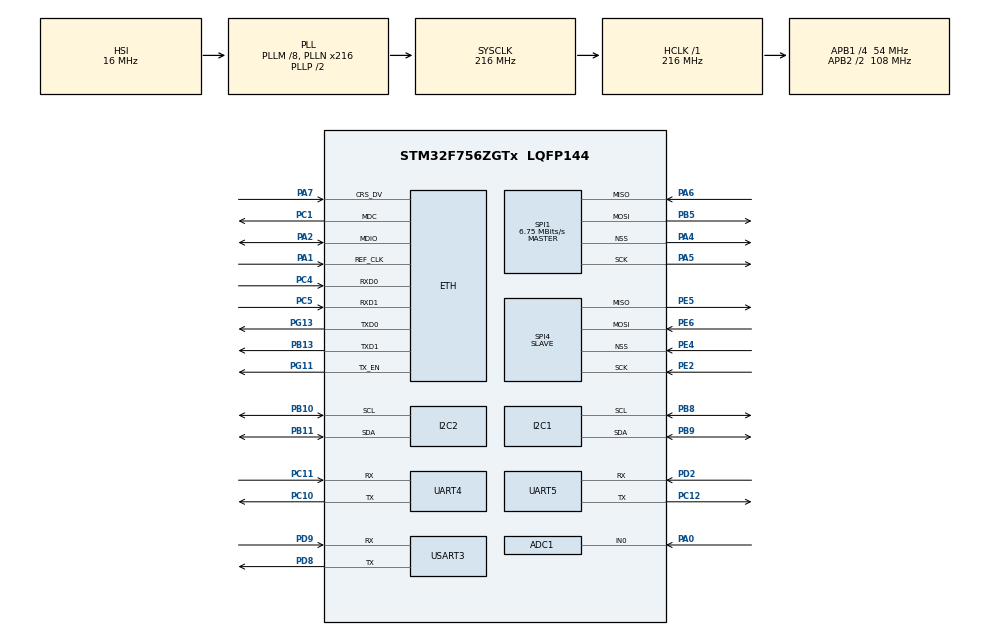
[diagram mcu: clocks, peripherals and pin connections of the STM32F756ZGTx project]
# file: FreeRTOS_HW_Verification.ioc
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ADC1.Channel-0\#ChannelRegularConversion=ADC_CHANNEL_0
ADC1.NbrOfConversionFlag=1
ADC1.Rank-0\#ChannelRegularConversion=1
ADC1.SamplingTime-0\#ChannelRegularConversion=ADC_SAMPLETIME_3CYCLES
ADC1.master=1
CORTEX_M7.CPU_DCache=Disabled
CORTEX_M7.CPU_ICache=Disabled
CORTEX_M7.MPU_Control=__NULL
Dma.ADC1.10.Direction=DMA_PERIPH_TO_MEMORY
Dma.ADC1.10.FIFOMode=DMA_FIFOMODE_DISABLE
Dma.ADC1.10.Instance=DMA2_Stream4
Dma.ADC1.10.MemDataAlignment=DMA_MDATAALIGN_HALFWORD
Dma.ADC1.10.MemInc=DMA_MINC_ENABLE
Dma.ADC1.10.Mode=DMA_NORMAL
Dma.ADC1.10.PeriphDataAlignment=DMA_PDATAALIGN_HALFWORD
Dma.ADC1.10.PeriphInc=DMA_PINC_DISABLE
Dma.ADC1.10.Priority=DMA_PRIORITY_LOW
Dma.I2C1_RX.8.Direction=DMA_PERIPH_TO_MEMORY
Dma.I2C1_RX.8.FIFOMode=DMA_FIFOMODE_DISABLE
Dma.I2C1_RX.8.Instance=DMA1_Stream5
Dma.I2C1_RX.8.MemDataAlignment=DMA_MDATAALIGN_BYTE
Dma.I2C1_RX.8.MemInc=DMA_MINC_ENABLE
Dma.I2C1_RX.8.Mode=DMA_NORMAL
Dma.I2C1_RX.8.PeriphDataAlignment=DMA_PDATAALIGN_BYTE
Dma.I2C1_RX.8.PeriphInc=DMA_PINC_DISABLE
Dma.I2C1_RX.8.Priority=DMA_PRIORITY_LOW
Dma.I2C1_TX.9.Direction=DMA_MEMORY_TO_PERIPH
Dma.I2C1_TX.9.FIFOMode=DMA_FIFOMODE_DISABLE
Dma.I2C1_TX.9.Instance=DMA1_Stream6
Dma.I2C1_TX.9.MemDataAlignment=DMA_MDATAALIGN_BYTE
Dma.I2C1_TX.9.MemInc=DMA_MINC_ENABLE
Dma.I2C1_TX.9.Mode=DMA_NORMAL
Dma.I2C1_TX.9.PeriphDataAlignment=DMA_PDATAALIGN_BYTE
Dma.I2C1_TX.9.PeriphInc=DMA_PINC_DISABLE
Dma.I2C1_TX.9.Priority=DMA_PRIORITY_LOW
Dma.I2C2_RX.2.Direction=DMA_PERIPH_TO_MEMORY
Dma.I2C2_RX.2.FIFOMode=DMA_FIFOMODE_DISABLE
Dma.I2C2_RX.2.Instance=DMA1_Stream3
Dma.I2C2_RX.2.MemDataAlignment=DMA_MDATAALIGN_BYTE
Dma.I2C2_RX.2.MemInc=DMA_MINC_ENABLE
Dma.I2C2_RX.2.Mode=DMA_NORMAL
Dma.I2C2_RX.2.PeriphDataAlignment=DMA_PDATAALIGN_BYTE
Dma.I2C2_RX.2.PeriphInc=DMA_PINC_DISABLE
Dma.I2C2_RX.2.Priority=DMA_PRIORITY_LOW
Dma.I2C2_TX.3.Direction=DMA_MEMORY_TO_PERIPH
Dma.I2C2_TX.3.FIFOMode=DMA_FIFOMODE_DISABLE
Dma.I2C2_TX.3.Instance=DMA1_Stream7
Dma.I2C2_TX.3.MemDataAlignment=DMA_MDATAALIGN_BYTE
Dma.I2C2_TX.3.MemInc=DMA_MINC_ENABLE
Dma.I2C2_TX.3.Mode=DMA_NORMAL
Dma.I2C2_TX.3.PeriphDataAlignment=DMA_PDATAALIGN_BYTE
Dma.I2C2_TX.3.PeriphInc=DMA_PINC_DISABLE
Dma.I2C2_TX.3.Priority=DMA_PRIORITY_LOW
Dma.Request0=UART5_RX
Dma.Request1=UART4_RX
Dma.Request10=ADC1
Dma.Request11=TIM6_UP
Dma.Request2=I2C2_RX
Dma.Request3=I2C2_TX
Dma.Request4=SPI1_RX
Dma.Request5=SPI1_TX
Dma.Request6=SPI4_RX
Dma.Request7=SPI4_TX
Dma.Request8=I2C1_RX
Dma.Request9=I2C1_TX
Dma.SPI1_RX.4.Direction=DMA_PERIPH_TO_MEMORY
Dma.SPI1_RX.4.FIFOMode=DMA_FIFOMODE_DISABLE
Dma.SPI1_RX.4.Instance=DMA2_Stream2
Dma.SPI1_RX.4.MemDataAlignment=DMA_MDATAALIGN_BYTE
Dma.SPI1_RX.4.MemInc=DMA_MINC_ENABLE
Dma.SPI1_RX.4.Mode=DMA_NORMAL
Dma.SPI1_RX.4.PeriphDataAlignment=DMA_PDATAALIGN_BYTE
Dma.SPI1_RX.4.PeriphInc=DMA_PINC_DISABLE
Dma.SPI1_RX.4.Priority=DMA_PRIORITY_LOW
Dma.SPI1_TX.5.Direction=DMA_MEMORY_TO_PERIPH
Dma.SPI1_TX.5.FIFOMode=DMA_FIFOMODE_DISABLE
Dma.SPI1_TX.5.Instance=DMA2_Stream3
Dma.SPI1_TX.5.MemDataAlignment=DMA_MDATAALIGN_BYTE
Dma.SPI1_TX.5.MemInc=DMA_MINC_ENABLE
Dma.SPI1_TX.5.Mode=DMA_NORMAL
Dma.SPI1_TX.5.PeriphDataAlignment=DMA_PDATAALIGN_BYTE
Dma.SPI1_TX.5.PeriphInc=DMA_PINC_DISABLE
Dma.SPI1_TX.5.Priority=DMA_PRIORITY_LOW
Dma.SPI4_RX.6.Direction=DMA_PERIPH_TO_MEMORY
Dma.SPI4_RX.6.FIFOMode=DMA_FIFOMODE_DISABLE
Dma.SPI4_RX.6.Instance=DMA2_Stream0
Dma.SPI4_RX.6.MemDataAlignment=DMA_MDATAALIGN_BYTE
Dma.SPI4_RX.6.MemInc=DMA_MINC_ENABLE
Dma.SPI4_RX.6.Mode=DMA_NORMAL
Dma.SPI4_RX.6.PeriphDataAlignment=DMA_PDATAALIGN_BYTE
Dma.SPI4_RX.6.PeriphInc=DMA_PINC_DISABLE
Dma.SPI4_RX.6.Priority=DMA_PRIORITY_LOW
Dma.SPI4_TX.7.Direction=DMA_MEMORY_TO_PERIPH
Dma.SPI4_TX.7.FIFOMode=DMA_FIFOMODE_DISABLE
Dma.SPI4_TX.7.Instance=DMA2_Stream1
Dma.SPI4_TX.7.MemDataAlignment=DMA_MDATAALIGN_BYTE
Dma.SPI4_TX.7.MemInc=DMA_MINC_ENABLE
Dma.SPI4_TX.7.Mode=DMA_NORMAL
Dma.SPI4_TX.7.PeriphDataAlignment=DMA_PDATAALIGN_BYTE
Dma.SPI4_TX.7.PeriphInc=DMA_PINC_DISABLE
Dma.SPI4_TX.7.Priority=DMA_PRIORITY_LOW
Dma.TIM6_UP.11.Direction=DMA_PERIPH_TO_MEMORY
Dma.TIM6_UP.11.FIFOMode=DMA_FIFOMODE_DISABLE
Dma.TIM6_UP.11.Instance=DMA1_Stream1
Dma.TIM6_UP.11.MemDataAlignment=DMA_MDATAALIGN_WORD
Dma.TIM6_UP.11.MemInc=DMA_MINC_ENABLE
Dma.TIM6_UP.11.Mode=DMA_NORMAL
Dma.TIM6_UP.11.PeriphDataAlignment=DMA_PDATAALIGN_WORD
Dma.TIM6_UP.11.PeriphInc=DMA_PINC_DISABLE
Dma.TIM6_UP.11.Priority=DMA_PRIORITY_HIGH
Dma.UART4_RX.1.Direction=DMA_PERIPH_TO_MEMORY
Dma.UART4_RX.1.FIFOMode=DMA_FIFOMODE_DISABLE
Dma.UART4_RX.1.Instance=DMA1_Stream2
Dma.UART4_RX.1.MemDataAlignment=DMA_MDATAALIGN_BYTE
Dma.UART4_RX.1.MemInc=DMA_MINC_ENABLE
Dma.UART4_RX.1.Mode=DMA_NORMAL
Dma.UART4_RX.1.PeriphDataAlignment=DMA_PDATAALIGN_BYTE
Dma.UART4_RX.1.PeriphInc=DMA_PINC_DISABLE
Dma.UART4_RX.1.Priority=DMA_PRIORITY_LOW
Dma.UART5_RX.0.Direction=DMA_PERIPH_TO_MEMORY
Dma.UART5_RX.0.FIFOMode=DMA_FIFOMODE_DISABLE
Dma.UART5_RX.0.Instance=DMA1_Stream0
Dma.UART5_RX.0.MemDataAlignment=DMA_MDATAALIGN_BYTE
Dma.UART5_RX.0.MemInc=DMA_MINC_ENABLE
Dma.UART5_RX.0.Mode=DMA_NORMAL
Dma.UART5_RX.0.PeriphDataAlignment=DMA_PDATAALIGN_BYTE
Dma.UART5_RX.0.PeriphInc=DMA_PINC_DISABLE
Dma.UART5_RX.0.Priority=DMA_PRIORITY_LOW
ETH.MediaInterface=HAL_ETH_RMII_MODE
FREERTOS.INCLUDE_vTaskDelete=1
FREERTOS.Queues01=inMsgQueue,16,InMsg_t,0,Dynamic,NULL,NULL;outMsgQueue,16,OutMsg_t,0,Dynamic,NULL,NULL;uartQueue,8,TestData_t,0,Dynamic,NULL,NULL;i2cQueue,8,TestData_t,0,Dynamic,NULL,NULL;spiQueue,8,TestData_t,0,Dynamic,NULL,NULL;adcQueue,8,TestData_t,0,Dynamic,NULL,NULL;timQueue,8,TestData_t,0,Dynamic,NULL,NULL
FREERTOS.Tasks01=defaultTask,35,512,StartDefaultTask,Default,NULL,Dynamic,NULL,NULL;UDPListenerTask,34,1024,StartTaskUdpListener,Default,NULL,Dynamic,NULL,NULL;DispatcherTask,32,512,StartTaskDispatcher,Default,NULL,Dynamic,NULL,NULL;uartTestTask,24,512,StartTaskUartTest,Default,NULL,Dynamic,NULL,NULL;i2cTestTask,24,512,StartTaskI2cTest,Default,NULL,Dynamic,NULL,NULL;spiTestTask,24,512,StartTaskSpiTest,Default,NULL,Dynamic,NULL,NULL;adcTestTask,24,512,StartTaskAdcTest,Default,NULL,Dynamic,NULL,NULL;timTestTask,24,512,StartTaskTimTest,Default,NULL,Dynamic,NULL,NULL;UDPResponderTas,34,1024,StartResponseTask,Default,NULL,Dynamic,NULL,NULL
FREERTOS.configCHECK_FOR_STACK_OVERFLOW=2
FREERTOS.configMINIMAL_STACK_SIZE=512
FREERTOS.configQUEUE_REGISTRY_SIZE=12
FREERTOS.configTOTAL_HEAP_SIZE=0x10000
FREERTOS.configUSE_MALLOC_FAILED_HOOK=1
FREERTOS.configUSE_NEWLIB_REENTRANT=1
I2C1.Timing=0x20404768
I2C2.OwnAddress=10
I2C2.Timing=0x20404768
LWIP.BSP.number=1
LWIP.DEFAULT_THREAD_STACKSIZE=1024
LWIP.DEFAULT_UDP_RECVMBOX_SIZE=6
LWIP.ETH_RX_BUFFER_CNT=32
LWIP.GATEWAY_ADDRESS=010.000.001.101
LWIP.IP_ADDRESS=010.000.001.100
LWIP.LWIP_DHCP=0
LWIP.LWIP_STATS=1
LWIP.MEMP_NUM_NETBUF=32
LWIP.MEMP_NUM_PBUF=128
LWIP.MEMP_NUM_UDP_PCB=16
LWIP.MEM_SIZE=0x6400
LWIP.NETMASK_ADDRESS=255.255.255.000
LWIP.PBUF_POOL_SIZE=32
LWIP.TCPIP_THREAD_STACKSIZE=2048
LWIP.Version=v2.1.2_Cube
LWIP0.BSP.STBoard=false
LWIP0.BSP.api=BSP_COMPONENT_DRIVER
LWIP0.BSP.component=LAN8742
LWIP0.BSP.instance=LAN8742
LWIP0.BSP.name=Driver_PHY
LWIP0.BSP.semaphore=S_LAN8742
LWIP0.BSP.solution=LAN8742
Mcu.Family=STM32F7
Mcu.Name=STM32F756ZGTx
Mcu.Package=LQFP144
NVIC.DMA1_Stream0_IRQn=true\:5\:0\:false\:false\:true\:true\:false\:true\:true
NVIC.DMA1_Stream1_IRQn=true\:5\:0\:false\:false\:true\:true\:false\:true\:true
NVIC.DMA1_Stream2_IRQn=true\:5\:0\:false\:false\:true\:true\:false\:true\:true
NVIC.DMA1_Stream3_IRQn=true\:5\:0\:false\:false\:true\:true\:false\:true\:true
NVIC.DMA1_Stream5_IRQn=true\:5\:0\:false\:false\:true\:true\:false\:true\:true
NVIC.DMA1_Stream6_IRQn=true\:5\:0\:false\:false\:true\:true\:false\:true\:true
NVIC.DMA1_Stream7_IRQn=true\:5\:0\:false\:false\:true\:true\:false\:true\:true
NVIC.DMA2_Stream0_IRQn=true\:5\:0\:false\:false\:true\:true\:false\:true\:true
NVIC.DMA2_Stream1_IRQn=true\:5\:0\:false\:false\:true\:true\:false\:true\:true
NVIC.DMA2_Stream2_IRQn=true\:5\:0\:false\:false\:true\:true\:false\:true\:true
NVIC.DMA2_Stream3_IRQn=true\:5\:0\:false\:false\:true\:true\:false\:true\:true
NVIC.DMA2_Stream4_IRQn=true\:5\:0\:false\:false\:true\:true\:false\:true\:true
NVIC.ETH_IRQn=true\:5\:0\:false\:false\:true\:true\:true\:true\:true
NVIC.ETH_WKUP_IRQn=true\:5\:0\:false\:false\:true\:true\:true\:true\:true
NVIC.I2C1_ER_IRQn=true\:5\:0\:false\:false\:true\:true\:true\:true\:true
NVIC.I2C1_EV_IRQn=true\:5\:0\:false\:false\:true\:true\:true\:true\:true
NVIC.I2C2_ER_IRQn=true\:5\:0\:false\:false\:true\:true\:true\:true\:true
NVIC.I2C2_EV_IRQn=true\:5\:0\:false\:false\:true\:true\:true\:true\:true
NVIC.PriorityGroup=NVIC_PRIORITYGROUP_4
NVIC.SPI1_IRQn=true\:5\:0\:false\:false\:true\:true\:true\:true\:true
NVIC.SPI4_IRQn=true\:5\:0\:false\:false\:true\:true\:true\:true\:true
NVIC.TIM6_DAC_IRQn=true\:5\:0\:false\:false\:true\:true\:true\:true\:true
NVIC.TIM7_IRQn=true\:15\:0\:false\:false\:true\:false\:false\:true\:true
NVIC.TimeBase=TIM7_IRQn
NVIC.TimeBaseIP=TIM7
NVIC.UART4_IRQn=true\:5\:0\:false\:false\:true\:true\:true\:true\:true
NVIC.UART5_IRQn=true\:5\:0\:false\:false\:true\:true\:true\:true\:true
NVIC.USART3_IRQn=true\:5\:0\:false\:false\:true\:true\:true\:true\:true
PA0/WKUP.Signal=ADCx_IN0
PA1.Mode=RMII
PA1.Signal=ETH_REF_CLK
PA13.Mode=Serial_Wire
PA13.Signal=SYS_JTMS-SWDIO
PA14.Mode=Serial_Wire
PA14.Signal=SYS_JTCK-SWCLK
PA2.Mode=RMII
PA2.Signal=ETH_MDIO
PA4.Mode=NSS_Signal_Hard_Output
PA4.Signal=SPI1_NSS
PA5.Mode=Full_Duplex_Master
PA5.Signal=SPI1_SCK
PA6.Mode=Full_Duplex_Master
PA6.Signal=SPI1_MISO
PA7.Mode=RMII
PA7.Signal=ETH_CRS_DV
PB10.GPIO_Pu=GPIO_PULLUP
PB10.Mode=I2C
PB10.Signal=I2C2_SCL
PB11.GPIO_Pu=GPIO_PULLUP
PB11.Mode=I2C
PB11.Signal=I2C2_SDA
PB13.Mode=RMII
PB13.Signal=ETH_TXD1
PB5.Mode=Full_Duplex_Master
PB5.Signal=SPI1_MOSI
PB8.GPIO_Pu=GPIO_PULLUP
PB8.Mode=I2C
PB8.Signal=I2C1_SCL
PB9.GPIO_Pu=GPIO_PULLUP
PB9.Mode=I2C
PB9.Signal=I2C1_SDA
PC1.Mode=RMII
PC1.Signal=ETH_MDC
PC10.Mode=Asynchronous
PC10.Signal=UART4_TX
PC11.Mode=Asynchronous
PC11.Signal=UART4_RX
PC12.Mode=Asynchronous
PC12.Signal=UART5_TX
PC4.Mode=RMII
PC4.Signal=ETH_RXD0
PC5.Mode=RMII
PC5.Signal=ETH_RXD1
PD2.Mode=Asynchronous
PD2.Signal=UART5_RX
PD8.Mode=Asynchronous
PD8.Signal=USART3_TX
PD9.Mode=Asynchronous
PD9.Signal=USART3_RX
PE2.Mode=Full_Duplex_Slave
PE2.Signal=SPI4_SCK
PE4.Mode=NSS_Signal_Hard_Input
PE4.Signal=SPI4_NSS
PE5.Mode=Full_Duplex_Slave
PE5.Signal=SPI4_MISO
PE6.Mode=Full_Duplex_Slave
PE6.Signal=SPI4_MOSI
PG11.Mode=RMII
PG11.Signal=ETH_TX_EN
PG13.Mode=RMII
PG13.Signal=ETH_TXD0
ProjectManager.HeapSize=0x3000
ProjectManager.StackSize=0x2000
ProjectManager.TargetToolchain=STM32CubeIDE
RCC.AHBFreq_Value=216000000
RCC.APB1CLKDivider=RCC_HCLK_DIV4
RCC.APB1Freq_Value=54000000
RCC.APB1TimFreq_Value=108000000
RCC.APB2CLKDivider=RCC_HCLK_DIV2
RCC.APB2Freq_Value=108000000
RCC.APB2TimFreq_Value=216000000
RCC.CortexFreq_Value=216000000
RCC.HCLKFreq_Value=216000000
RCC.HSE_VALUE=25000000
RCC.HSI_VALUE=16000000
RCC.LSE_VALUE=32768
RCC.PLLM=8
RCC.PLLN=216
RCC.SYSCLKFreq_VALUE=216000000
RCC.SYSCLKSource=RCC_SYSCLKSOURCE_PLLCLK
RCC.USBFreq_Value=216000000
RCC.VCOOutputFreq_Value=432000000
SH.ADCx_IN0.0=ADC1_IN0,IN0
SPI1.BaudRatePrescaler=SPI_BAUDRATEPRESCALER_16
SPI1.CalculateBaudRate=6.75 MBits/s
SPI1.DataSize=SPI_DATASIZE_8BIT
SPI1.Direction=SPI_DIRECTION_2LINES
SPI1.Mode=SPI_MODE_MASTER
SPI1.VirtualNSS=VM_NSSHARD
SPI1.VirtualType=VM_MASTER
SPI4.DataSize=SPI_DATASIZE_8BIT
SPI4.Direction=SPI_DIRECTION_2LINES
SPI4.Mode=SPI_MODE_SLAVE
SPI4.VirtualNSS=VM_NSSHARD
SPI4.VirtualType=VM_SLAVE
TIM6.Period=100-1
TIM6.Prescaler=540-1
TIM6.TIM_MasterOutputTrigger=TIM_TRGO_UPDATE
USART3.VirtualMode-Asynchronous=VM_ASYNC
VP_CRC_VS_CRC.Mode=CRC_Activate
VP_FREERTOS_VS_CMSIS_V2.Mode=CMSIS_V2
VP_LWIP_VS_Enabled.Mode=Enabled
VP_SYS_VS_tim7.Mode=TIM7
VP_TIM2_VS_ClockSourceINT.Mode=Internal
VP_TIM6_VS_ClockSourceINT.Mode=Enable_Timer
board=custom

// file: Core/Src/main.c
/* USER CODE BEGIN Header */
/**
  ******************************************************************************
  * @file           : main.c
  * @brief          : Main program body
  ******************************************************************************
  * @attention
  *
  * Copyright (c) 2025 STMicroelectronics.
  * All rights reserved.
  *
  * This software is licensed under terms that can be found in the LICENSE file
  * in the root directory of this software component.
  * If no LICENSE file comes with this software, it is provided AS-IS.
  *
  ******************************************************************************
  */
/* USER CODE END Header */
#include "main.h"
#include "cmsis_os.h"
#include "adc.h"
#include "crc.h"
#include "dma.h"
#include "i2c.h"
#include "lwip.h"
#include "spi.h"
#include "tim.h"
#include "usart.h"
#include "gpio.h"

void SystemClock_Config(void);
void MX_FREERTOS_Init(void);

int main(void)
{

  /* MCU Configuration--------------------------------------------------------*/

  /* Reset of all peripherals, Initializes the Flash interface and the Systick. */
  HAL_Init();

  /* Configure the system clock */
  SystemClock_Config();

  /* Initialize all configured peripherals */
  MX_GPIO_Init();
  MX_DMA_Init();
  MX_USART3_UART_Init();
  MX_CRC_Init();
  MX_UART4_Init();
  MX_UART5_Init();
  MX_I2C1_Init();
  MX_I2C2_Init();
  MX_SPI1_Init();
  MX_SPI4_Init();
  MX_ADC1_Init();
  MX_TIM6_Init();
  MX_TIM2_Init();

  /* Init scheduler */
  osKernelInitialize();

  /* Call init function for freertos objects (in cmsis_os2.c) */
  MX_FREERTOS_Init();

  /* Start scheduler */
  osKernelStart();

  /* We should never get here as control is now taken by the scheduler */

  /* Infinite loop */
  while (1)
  {

  }
}

void SystemClock_Config(void)
{
  RCC_OscInitTypeDef RCC_OscInitStruct = {0};
  RCC_ClkInitTypeDef RCC_ClkInitStruct = {0};

  /** Configure the main internal regulator output voltage
  */
  __HAL_RCC_PWR_CLK_ENABLE();
  __HAL_PWR_VOLTAGESCALING_CONFIG(PWR_REGULATOR_VOLTAGE_SCALE1);

  /** Initializes the RCC Oscillators according to the specified parameters
  * in the RCC_OscInitTypeDef structure.
  */
  RCC_OscInitStruct.OscillatorType = RCC_OSCILLATORTYPE_HSI;
  RCC_OscInitStruct.HSIState = RCC_HSI_ON;
  RCC_OscInitStruct.HSICalibrationValue = RCC_HSICALIBRATION_DEFAULT;
  RCC_OscInitStruct.PLL.PLLState = RCC_PLL_ON;
  RCC_OscInitStruct.PLL.PLLSource = RCC_PLLSOURCE_HSI;
  RCC_OscInitStruct.PLL.PLLM = 8;
  RCC_OscInitStruct.PLL.PLLN = 216;
  RCC_OscInitStruct.PLL.PLLP = RCC_PLLP_DIV2;
  RCC_OscInitStruct.PLL.PLLQ = 2;
  if (HAL_RCC_OscConfig(&RCC_OscInitStruct) != HAL_OK)
  {
    Error_Handler();
  }

  /** Activate the Over-Drive mode
  */
  if (HAL_PWREx_EnableOverDrive() != HAL_OK)
  {
    Error_Handler();
  }

  /** Initializes the CPU, AHB and APB buses clocks
  */
  RCC_ClkInitStruct.ClockType = RCC_CLOCKTYPE_HCLK|RCC_CLOCKTYPE_SYSCLK
                              |RCC_CLOCKTYPE_PCLK1|RCC_CLOCKTYPE_PCLK2;
  RCC_ClkInitStruct.SYSCLKSource = RCC_SYSCLKSOURCE_PLLCLK;
  RCC_ClkInitStruct.AHBCLKDivider = RCC_SYSCLK_DIV1;
  RCC_ClkInitStruct.APB1CLKDivider = RCC_HCLK_DIV4;
  RCC_ClkInitStruct.APB2CLKDivider = RCC_HCLK_DIV2;

  if (HAL_RCC_ClockConfig(&RCC_ClkInitStruct, FLASH_LATENCY_7) != HAL_OK)
  {
    Error_Handler();
  }
}

void HAL_TIM_PeriodElapsedCallback(TIM_HandleTypeDef *htim)
{
  if (htim->Instance == TIM7)
  {
    HAL_IncTick();
  }
}

void Error_Handler(void)
{
  __disable_irq();
  while (1)
  {
  }
}

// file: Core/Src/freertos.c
/* USER CODE BEGIN Header */
/**
  ******************************************************************************
  * File Name          : freertos.c
  * Description        : Code for freertos applications
  ******************************************************************************
  * @attention
  *
  * Copyright (c) 2025 STMicroelectronics.
  * All rights reserved.
  *
  * This software is licensed under terms that can be found in the LICENSE file
  * in the root directory of this software component.
  * If no LICENSE file comes with this software, it is provided AS-IS.
  *
  ******************************************************************************
  */
/* USER CODE END Header */

#include "FreeRTOS.h"
#include "task.h"
#include "main.h"
#include "cmsis_os.h"

/* USER CODE BEGIN Includes */
#include "hw_verif_sys.h"
#include "hw_verif_udp.h"
#include "hw_verif_crc.h"
#include "dispatcher.h"
#include "uart_test.h"
#include "i2c_test.h"
#include "spi_test.h"
#include "adc_test.h"
#include "timer_test.h"
#include "log.h"

#include "lwip/stats.h"

#include <stdio.h>
/* USER CODE END Includes */

/* Definitions for defaultTask */
osThreadId_t defaultTaskHandle;
const osThreadAttr_t defaultTask_attributes = {
  .name = "defaultTask",
  .stack_size = 512 * 4,
  .priority = (osPriority_t) osPriorityAboveNormal3,
};
/* Definitions for UDPListenerTask */
osThreadId_t UDPListenerTaskHandle;
const osThreadAttr_t UDPListenerTask_attributes = {
  .name = "UDPListenerTask",
  .stack_size = 1024 * 4,
  .priority = (osPriority_t) osPriorityAboveNormal2,
};
/* Definitions for DispatcherTask */
osThreadId_t DispatcherTaskHandle;
const osThreadAttr_t DispatcherTask_attributes = {
  .name = "DispatcherTask",
  .stack_size = 512 * 4,
  .priority = (osPriority_t) osPriorityAboveNormal,
};
/* Definitions for uartTestTask */
osThreadId_t uartTestTaskHandle;
const osThreadAttr_t uartTestTask_attributes = {
  .name = "uartTestTask",
  .stack_size = 512 * 4,
  .priority = (osPriority_t) osPriorityNormal,
};
/* Definitions for i2cTestTask */
osThreadId_t i2cTestTaskHandle;
const osThreadAttr_t i2cTestTask_attributes = {
  .name = "i2cTestTask",
  .stack_size = 512 * 4,
  .priority = (osPriority_t) osPriorityNormal,
};
/* Definitions for spiTestTask */
osThreadId_t spiTestTaskHandle;
const osThreadAttr_t spiTestTask_attributes = {
  .name = "spiTestTask",
  .stack_size = 512 * 4,
  .priority = (osPriority_t) osPriorityNormal,
};
/* Definitions for adcTestTask */
osThreadId_t adcTestTaskHandle;
const osThreadAttr_t adcTestTask_attributes = {
  .name = "adcTestTask",
  .stack_size = 512 * 4,
  .priority = (osPriority_t) osPriorityNormal,
};
/* Definitions for timTestTask */
osThreadId_t timTestTaskHandle;
const osThreadAttr_t timTestTask_attributes = {
  .name = "timTestTask",
  .stack_size = 512 * 4,
  .priority = (osPriority_t) osPriorityNormal,
};
/* Definitions for UDPResponderTas */
osThreadId_t UDPResponderTasHandle;
const osThreadAttr_t UDPResponderTas_attributes = {
  .name = "UDPResponderTas",
  .stack_size = 1024 * 4,
  .priority = (osPriority_t) osPriorityAboveNormal2,
};
/* Definitions for inMsgQueue */
osMessageQueueId_t inMsgQueueHandle;
const osMessageQueueAttr_t inMsgQueue_attributes = {
  .name = "inMsgQueue"
};
/* Definitions for outMsgQueue */
osMessageQueueId_t outMsgQueueHandle;
const osMessageQueueAttr_t outMsgQueue_attributes = {
  .name = "outMsgQueue"
};
/* Definitions for uartQueue */
osMessageQueueId_t uartQueueHandle;
const osMessageQueueAttr_t uartQueue_attributes = {
  .name = "uartQueue"
};
/* Definitions for i2cQueue */
osMessageQueueId_t i2cQueueHandle;
const osMessageQueueAttr_t i2cQueue_attributes = {
  .name = "i2cQueue"
};
/* Definitions for spiQueue */
osMessageQueueId_t spiQueueHandle;
const osMessageQueueAttr_t spiQueue_attributes = {
  .name = "spiQueue"
};
/* Definitions for adcQueue */
osMessageQueueId_t adcQueueHandle;
const osMessageQueueAttr_t adcQueue_attributes = {
  .name = "adcQueue"
};
/* Definitions for timQueue */
osMessageQueueId_t timQueueHandle;
const osMessageQueueAttr_t timQueue_attributes = {
  .name = "timQueue"
};

void StartDefaultTask(void *argument);
void StartTaskUdpListener(void *argument);
void StartTaskDispatcher(void *argument);
void StartTaskUartTest(void *argument);
void StartTaskI2cTest(void *argument);
void StartTaskSpiTest(void *argument);
void StartTaskAdcTest(void *argument);
void StartTaskTimTest(void *argument);
void StartResponseTask(void *argument);

extern void MX_LWIP_Init(void);
void MX_FREERTOS_Init(void); /* (MISRA C 2004 rule 8.1) */

/* Hook prototypes */
void vApplicationStackOverflowHook(xTaskHandle xTask, signed char *pcTaskName);
void vApplicationMallocFailedHook(void);

/* USER CODE BEGIN 4 */
__weak void vApplicationStackOverflowHook(xTaskHandle xTask, signed char *pcTaskName)
{
   /* Run time stack overflow checking is performed if
   configCHECK_FOR_STACK_OVERFLOW is defined to 1 or 2. This hook function is
   called if a stack overflow is detected. */
#ifdef PRINT_TESTS_DEBUG
	printf("stack overflow from task '%s'\n", pcTaskName);
#endif
}
/* USER CODE END 4 */

/* USER CODE BEGIN 5 */
void vApplicationMallocFailedHook(void)
{
   /* vApplicationMallocFailedHook() will only be called if
   configUSE_MALLOC_FAILED_HOOK is set to 1 in FreeRTOSConfig.h. It is a hook
   function that will get called if a call to pvPortMalloc() fails.
   pvPortMalloc() is called internally by the kernel whenever a task, queue,
   timer or semaphore is created. It is also called by various parts of the
   demo application. If heap_1.c or heap_2.c are used, then the size of the
   heap available to pvPortMalloc() is defined by configTOTAL_HEAP_SIZE in
   FreeRTOSConfig.h, and the xPortGetFreeHeapSize() API function can be used
   to query the size of free heap space that remains (although it does not
   provide information on how the remaining heap might be fragmented). */
}
/* USER CODE END 5 */

void MX_FREERTOS_Init(void) {

  /* Create the queue(s) */
  /* creation of inMsgQueue */
  inMsgQueueHandle = osMessageQueueNew (16, sizeof(InMsg_t), &inMsgQueue_attributes);

  /* creation of outMsgQueue */
  outMsgQueueHandle = osMessageQueueNew (16, sizeof(OutMsg_t), &outMsgQueue_attributes);

  /* creation of uartQueue */
  uartQueueHandle = osMessageQueueNew (8, sizeof(TestData_t), &uartQueue_attributes);

  /* creation of i2cQueue */
  i2cQueueHandle = osMessageQueueNew (8, sizeof(TestData_t), &i2cQueue_attributes);

  /* creation of spiQueue */
  spiQueueHandle = osMessageQueueNew (8, sizeof(TestData_t), &spiQueue_attributes);

  /* creation of adcQueue */
  adcQueueHandle = osMessageQueueNew (8, sizeof(TestData_t), &adcQueue_attributes);

  /* creation of timQueue */
  timQueueHandle = osMessageQueueNew (8, sizeof(TestData_t), &timQueue_attributes);

  /* Create the thread(s) */
  /* creation of defaultTask */
  defaultTaskHandle = osThreadNew(StartDefaultTask, NULL, &defaultTask_attributes);

  /* creation of UDPListenerTask */
  UDPListenerTaskHandle = osThreadNew(StartTaskUdpListener, NULL, &UDPListenerTask_attributes);

  /* creation of DispatcherTask */
  DispatcherTaskHandle = osThreadNew(StartTaskDispatcher, NULL, &DispatcherTask_attributes);

  /* creation of uartTestTask */
  uartTestTaskHandle = osThreadNew(StartTaskUartTest, NULL, &uartTestTask_attributes);

  /* creation of i2cTestTask */
  i2cTestTaskHandle = osThreadNew(StartTaskI2cTest, NULL, &i2cTestTask_attributes);

  /* creation of spiTestTask */
  spiTestTaskHandle = osThreadNew(StartTaskSpiTest, NULL, &spiTestTask_attributes);

  /* creation of adcTestTask */
  adcTestTaskHandle = osThreadNew(StartTaskAdcTest, NULL, &adcTestTask_attributes);

  /* creation of timTestTask */
  timTestTaskHandle = osThreadNew(StartTaskTimTest, NULL, &timTestTask_attributes);

  /* creation of UDPResponderTas */
  UDPResponderTasHandle = osThreadNew(StartResponseTask, NULL, &UDPResponderTas_attributes);

}

void StartDefaultTask(void *argument)
{
  /* init code for LWIP */
  MX_LWIP_Init();
  /* USER CODE BEGIN StartDefaultTask */
  if (Init_CRC() == CRC_MATCH_FAIL)
  {
	  Error_Handler();
  }

  init_log_mtx();

  vTaskDelete(defaultTaskHandle);
  /* USER CODE END StartDefaultTask */
}

void StartTaskUdpListener(void *argument)
{
  /* USER CODE BEGIN StartTaskUdpListener */
  UDP_Listen(); // loops here
  /* USER CODE END StartTaskUdpListener */
}

void StartTaskDispatcher(void *argument)
{
  /* USER CODE BEGIN StartTaskDispatcher */
  TestDispatcherTask(); // loops here
  /* USER CODE END StartTaskDispatcher */
}

void StartTaskUartTest(void *argument)
{
  /* USER CODE BEGIN StartTaskUartTest */
  UartTestTask(); // loops here
  /* USER CODE END StartTaskUartTest */
}

void StartTaskI2cTest(void *argument)
{
  /* USER CODE BEGIN StartTaskI2cTest */
	I2cTestTask(); // loops here
  /* USER CODE END StartTaskI2cTest */
}

void StartTaskSpiTest(void *argument)
{
  /* USER CODE BEGIN StartTaskSpiTest */
  SpiTestTask(); // loops here
  /* USER CODE END StartTaskSpiTest */
}

void StartTaskAdcTest(void *argument)
{
  /* USER CODE BEGIN StartTaskAdcTest */
  AdcTestTask(); // loops here
  /* USER CODE END StartTaskAdcTest */
}

void StartTaskTimTest(void *argument)
{
  /* USER CODE BEGIN StartTaskTimTest */
  TimTestTask(); // loops here
  /* USER CODE END StartTaskTimTest */
}

void StartResponseTask(void *argument)
{
  /* USER CODE BEGIN StartResponseTask */
  UDP_Response(); // Loops here
  /* USER CODE END StartResponseTask */
}
